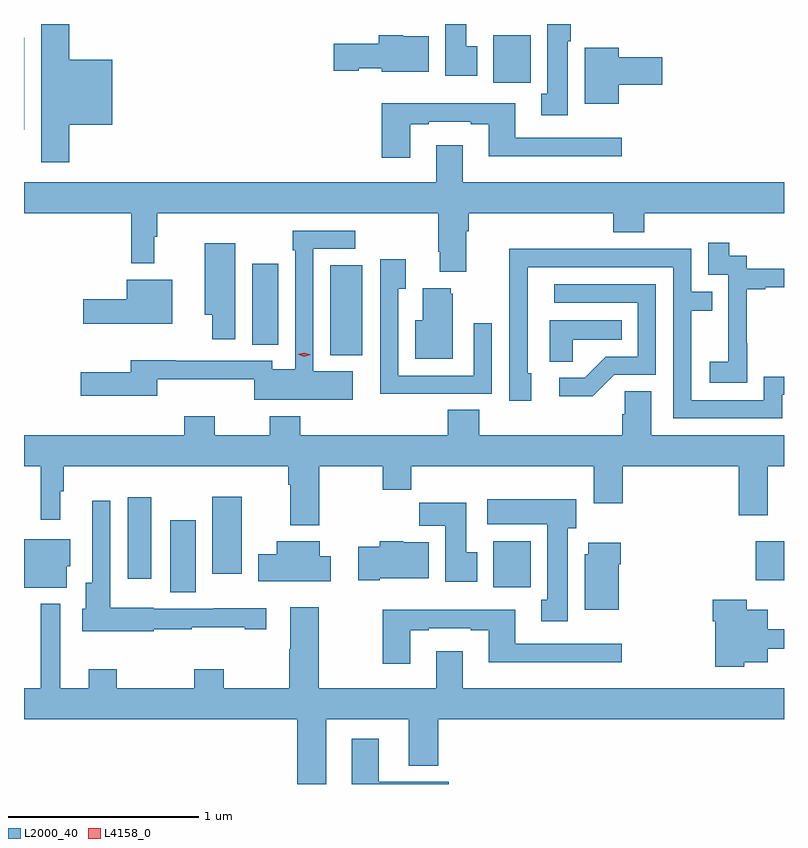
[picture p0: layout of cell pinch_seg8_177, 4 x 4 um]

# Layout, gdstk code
import gdstk
lib = gdstk.Library(unit=1e-6, precision=1e-09)
def R(c, l, rs):  # rectangles x0, y0, x1, y1
    for r in rs: c.add(gdstk.rectangle(r[:2], r[2:], *l))
def P(c, l, *ps):  # polygons
    for p in ps: c.add(gdstk.Polygon(p, *l))
L2000_40 = (2000, 40)
L4158_0 = (4158, 0)

pinch_seg8_177 = lib.new_cell('pinch_seg8_177')
R(pinch_seg8_177, L2000_40, [(661.754,1138.48,661.888,1138.861), (663.455,1138.508,663.652,1138.75), (664.835,1138.544,664.985,1138.75), (661.532,1138.551,661.654,1138.981), (661.976,1138.578,662.131,1138.984), (662.597,1139.729,662.764,1140.203), (662.186,1139.785,662.323,1140.211), (660.985,1140.915,660.987,1141.399), (663.455,1141.164,663.651,1141.414)])
P(pinch_seg8_177, L2000_40, [(663.847,1141.382),(663.862,1141.382),(663.862,1141.472),(663.74,1141.472),(663.74,1141.105),(663.707,1141.105),(663.707,1140.993),(663.847,1140.993)],
  [(661.223,1140.941),(661.45,1140.941),(661.45,1141.285),(661.223,1141.285),(661.223,1141.472),(661.076,1141.472),(661.076,1140.744),(661.223,1140.744)],
  [(663.37,1141.356),(663.313,1141.356),(663.313,1141.472),(663.203,1141.472),(663.203,1141.2),(663.37,1141.2)],
  [(663.115,1141.408),(662.982,1141.408),(662.982,1141.414),(662.852,1141.414),(662.852,1141.368),(662.616,1141.368),(662.616,1141.226),(662.748,1141.226),(662.748,1141.238),(662.868,1141.238),(662.868,1141.22),(663.115,1141.22)],
  [(664.114,1141.151),(664.345,1141.151),(664.345,1141.298),(664.114,1141.298),(664.114,1141.348),(663.935,1141.348),(663.935,1141.052),(664.114,1141.052)],
  [(663.019,1140.945),(663.115,1140.945),(663.115,1140.957),(663.335,1140.957),(663.335,1140.945),(663.431,1140.945),(663.431,1140.776),(664.132,1140.776),(664.132,1140.873),(663.571,1140.873),(663.571,1141.054),(662.867,1141.054),(662.867,1140.768),(663.019,1140.768)],
  [(663.313,1140.38),(663.326,1140.38),(663.326,1140.476),(664.085,1140.476),(664.085,1140.377),(664.25,1140.377),(664.25,1140.476),(664.985,1140.476),(664.985,1140.64),(663.295,1140.64),(663.295,1140.835),(663.155,1140.835),(663.155,1140.64),(660.985,1140.64),(660.985,1140.476),(661.549,1140.476),(661.549,1140.213),(661.67,1140.213),(661.67,1140.353),(661.685,1140.353),(661.685,1140.476),(663.166,1140.476),(663.166,1140.274),(663.173,1140.274),(663.173,1140.167),(663.313,1140.167)],
  [(662.716,1139.644),(662.508,1139.644),(662.508,1140.288),(662.728,1140.288),(662.728,1140.384),(662.4,1140.384),(662.4,1140.281),(662.412,1140.281),(662.412,1139.656),(662.292,1139.656),(662.292,1139.7),(661.783,1139.7),(661.783,1139.702),(661.547,1139.702),(661.547,1139.638),(661.284,1139.638),(661.284,1139.516),(661.687,1139.516),(661.687,1139.603),(662.196,1139.603),(662.196,1139.495),(662.716,1139.495)],
  [(664.791,1139.791),(664.79,1139.791),(664.79,1140.075),(664.885,1140.075),(664.885,1140.087),(664.985,1140.087),(664.985,1140.183),(664.788,1140.183),(664.788,1140.252),(664.696,1140.252),(664.696,1140.322),(664.587,1140.322),(664.587,1140.153),(664.692,1140.153),(664.692,1139.924),(664.691,1139.924),(664.691,1139.695),(664.593,1139.695),(664.593,1139.585),(664.791,1139.585)],
  [(662.098,1140.319),(661.937,1140.319),(661.937,1139.942),(661.976,1139.942),(661.976,1139.814),(662.098,1139.814)],
  [(664.975,1139.52),(664.985,1139.52),(664.985,1139.616),(664.878,1139.616),(664.878,1139.493),(664.497,1139.493),(664.497,1139.962),(664.607,1139.962),(664.607,1140.063),(664.497,1140.063),(664.497,1140.288),(664.001,1140.288),(664.001,1140.29),(663.538,1140.29),(663.538,1139.983),(663.54,1139.983),(663.54,1139.49),(663.655,1139.49),(663.655,1139.634),(663.636,1139.634),(663.636,1140.192),(664.401,1140.192),(664.401,1139.397),(664.975,1139.397)],
  [(663.131,1139.526),(663.447,1139.526),(663.447,1139.896),(663.351,1139.896),(663.351,1139.622),(662.955,1139.622),(662.955,1140.079),(662.995,1140.079),(662.995,1140.235),(662.859,1140.235),(662.859,1139.525),(663.131,1139.525)],
  [(661.765,1140.127),(661.526,1140.127),(661.526,1140.024),(661.296,1140.024),(661.296,1139.894),(661.765,1139.894)],
  [(664.092,1139.625),(664.311,1139.625),(664.311,1140.102),(663.777,1140.102),(663.777,1140.006),(664.215,1140.006),(664.215,1139.721),(664.046,1139.721),(663.935,1139.61),(663.801,1139.61),(663.801,1139.513),(663.979,1139.513)],
  [(663.241,1140.051),(663.23,1140.051),(663.23,1140.082),(663.083,1140.082),(663.083,1139.914),(663.044,1139.914),(663.044,1139.711),(663.241,1139.711)],
  [(663.873,1139.81),(664.13,1139.81),(664.13,1139.914),(663.752,1139.914),(663.752,1139.695),(663.873,1139.695)],
  [(662.54,1139.144),(662.872,1139.144),(662.872,1139.02),(663.023,1139.02),(663.023,1139.144),(663.983,1139.144),(663.983,1138.95),(664.136,1138.95),(664.136,1139.144),(664.748,1139.144),(664.748,1138.887),(664.9,1138.887),(664.9,1139.144),(664.985,1139.144),(664.985,1139.308),(664.285,1139.308),(664.285,1139.54),(664.146,1139.54),(664.146,1139.417),(664.133,1139.417),(664.133,1139.308),(663.38,1139.308),(663.38,1139.441),(663.215,1139.441),(663.215,1139.308),(662.438,1139.308),(662.438,1139.407),(662.278,1139.407),(662.278,1139.308),(661.989,1139.308),(661.989,1139.407),(661.829,1139.407),(661.829,1139.308),(660.985,1139.308),(660.985,1139.144),(661.073,1139.144),(661.073,1138.863),(661.177,1138.863),(661.177,1139.012),(661.195,1139.012),(661.195,1139.144),(662.375,1139.144),(662.375,1139.048),(662.387,1139.048),(662.387,1138.835),(662.54,1138.835)],
  [(663.847,1138.818),(663.892,1138.818),(663.892,1138.972),(663.423,1138.972),(663.423,1138.838),(663.74,1138.838),(663.74,1138.442),(663.707,1138.442),(663.707,1138.329),(663.847,1138.329)],
  [(661.668,1138.287),(661.868,1138.287),(661.868,1138.297),(662.147,1138.297),(662.147,1138.287),(662.26,1138.287),(662.26,1138.397),(661.984,1138.397),(661.984,1138.395),(661.668,1138.395),(661.668,1138.399),(661.44,1138.399),(661.44,1138.963),(661.344,1138.963),(661.344,1138.531),(661.31,1138.531),(661.31,1138.395),(661.292,1138.395),(661.292,1138.277),(661.668,1138.277)],
  [(663.37,1138.692),(663.313,1138.692),(663.313,1138.951),(663.064,1138.951),(663.064,1138.832),(663.203,1138.832),(663.203,1138.536),(663.37,1138.536)],
  [(661.21,1138.617),(661.228,1138.617),(661.228,1138.759),(660.985,1138.759),(660.985,1138.505),(661.21,1138.505)],
  [(662.599,1138.672),(662.542,1138.672),(662.542,1138.75),(662.315,1138.75),(662.315,1138.68),(662.219,1138.68),(662.219,1138.538),(662.599,1138.538)],
  [(662.857,1138.556),(663.115,1138.556),(663.115,1138.744),(662.982,1138.744),(662.982,1138.75),(662.857,1138.75),(662.857,1138.722),(662.745,1138.722),(662.745,1138.544),(662.857,1138.544)],
  [(664.114,1138.628),(664.127,1138.628),(664.127,1138.741),(663.956,1138.741),(663.956,1138.68),(663.935,1138.68),(663.935,1138.388),(664.114,1138.388)],
  [(664.776,1138.112),(664.9,1138.112),(664.9,1138.184),(664.985,1138.184),(664.985,1138.286),(664.9,1138.286),(664.9,1138.39),(664.788,1138.39),(664.788,1138.441),(664.61,1138.441),(664.61,1138.328),(664.622,1138.328),(664.622,1138.088),(664.776,1138.088)],
  [(662.575,1137.812),(663.011,1137.812),(663.011,1137.569),(663.164,1137.569),(663.164,1137.812),(664.985,1137.812),(664.985,1137.976),(663.295,1137.976),(663.295,1138.171),(663.155,1138.171),(663.155,1137.976),(662.535,1137.976),(662.535,1138.402),(662.387,1138.402),(662.387,1138.181),(662.38,1138.181),(662.38,1137.976),(662.037,1137.976),(662.037,1138.075),(661.882,1138.075),(661.882,1137.976),(661.473,1137.976),(661.473,1138.075),(661.325,1138.075),(661.325,1137.976),(661.177,1137.976),(661.177,1138.42),(661.073,1138.42),(661.073,1137.976),(660.985,1137.976),(660.985,1137.812),(662.423,1137.812),(662.423,1137.472),(662.575,1137.472)],
  [(663.019,1138.281),(663.115,1138.281),(663.115,1138.293),(663.335,1138.293),(663.335,1138.281),(663.431,1138.281),(663.431,1138.112),(664.132,1138.112),(664.132,1138.209),(663.571,1138.209),(663.571,1138.39),(662.872,1138.39),(662.872,1138.104),(663.019,1138.104)],
  [(663.221,1137.484),(662.851,1137.484),(662.851,1137.709),(662.711,1137.709),(662.711,1137.472),(663.221,1137.472)])
P(pinch_seg8_177, L4158_0, [(662.459,1139.722),(662.425,1139.733),(662.424,1139.733),(662.425,1139.733),(662.46,1139.742),(662.494,1139.73),(662.494,1139.73),(662.494,1139.73)])

lib.write_gds('pinch_seg8_177.gds')
